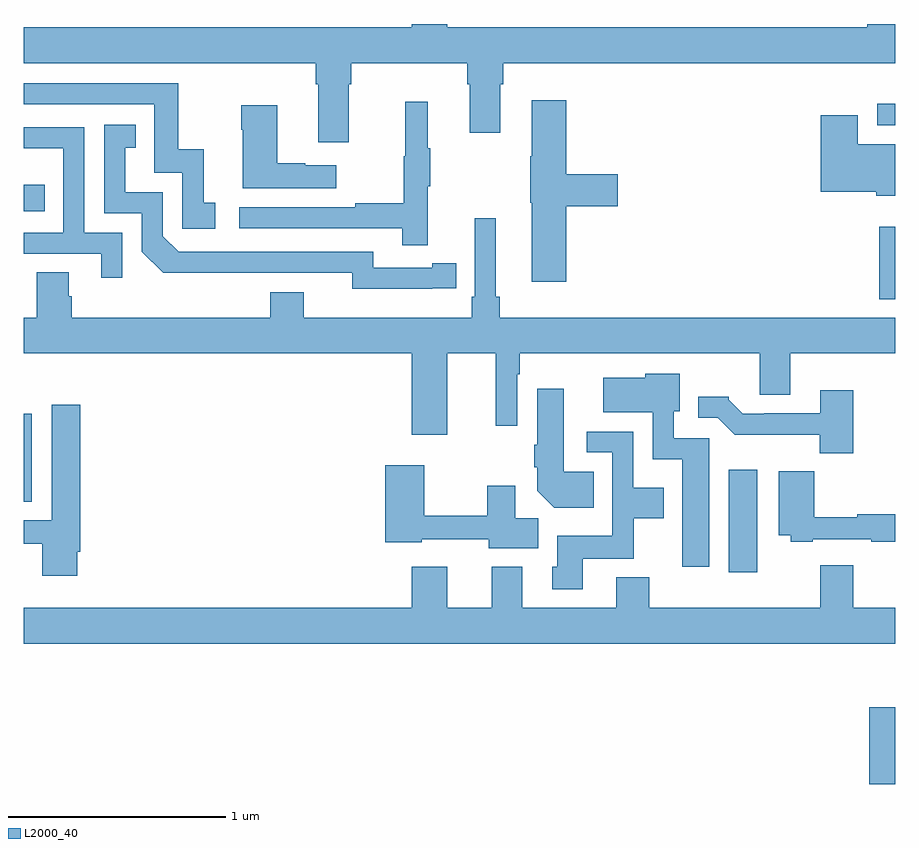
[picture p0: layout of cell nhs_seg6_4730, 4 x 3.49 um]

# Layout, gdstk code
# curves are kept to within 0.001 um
import gdstk
lib = gdstk.Library(unit=1e-6, precision=1e-09)
def R(c, l, rs):  # rectangles x0, y0, x1, y1
    for r in rs: c.add(gdstk.rectangle(r[:2], r[2:], *l))
def P(c, l, *ps):  # polygons
    for p in ps: c.add(gdstk.Polygon(p, *l))
L2000_40 = (2000, 40)

nhs_seg6_4730 = lib.new_cell('nhs_seg6_4730')
R(nhs_seg6_4730, L2000_40, [(394.88,960.011,395,960.364), (394.235,960.984,394.366,961.453), (391,961.306,391.036,961.711), (394.927,962.237,395,962.569), (391,962.64,391.097,962.763), (394.917,963.036,395,963.134)])
P(nhs_seg6_4730, L2000_40, [(392.491,963.224),(392.504,963.224),(392.504,963.32),(393.035,963.32),(393.035,963.224),(393.047,963.224),(393.047,963),(393.187,963),(393.187,963.224),(393.2,963.224),(393.2,963.32),(395,963.32),(395,963.5),(394.871,963.5),(394.871,963.484),(392.944,963.484),(392.944,963.5),(392.78,963.5),(392.78,963.484),(391,963.484),(391,963.32),(392.339,963.32),(392.339,963.224),(392.351,963.224),(392.351,962.958),(392.491,962.958)],
  [(391.879,962.679),(391.826,962.679),(391.826,962.926),(391.708,962.926),(391.708,963.228),(391,963.228),(391,963.132),(391.599,963.132),(391.599,962.817),(391.728,962.817),(391.728,962.559),(391.879,962.559)],
  [(393.491,962.663),(393.727,962.663),(393.727,962.81),(393.491,962.81),(393.491,963.151),(393.332,963.151),(393.332,962.893),(393.325,962.893),(393.325,962.679),(393.332,962.679),(393.332,962.316),(393.491,962.316)],
  [(392.855,962.755),(392.866,962.755),(392.866,962.929),(392.855,962.929),(392.855,963.142),(392.752,963.142),(392.752,962.892),(392.745,962.892),(392.745,962.678),(392.521,962.678),(392.521,962.658),(391.989,962.658),(391.989,962.562),(392.737,962.562),(392.737,962.484),(392.855,962.484)],
  [(392.434,962.851),(392.291,962.851),(392.291,962.861),(392.164,962.861),(392.164,963.127),(391.999,963.127),(391.999,963.014),(392.006,963.014),(392.006,962.747),(392.434,962.747)],
  [(395,962.947),(394.828,962.947),(394.828,963.082),(394.658,963.082),(394.658,962.729),(394.914,962.729),(394.914,962.711),(395,962.711)],
  [(392.876,962.286),(392.984,962.286),(392.984,962.402),(392.876,962.402),(392.876,962.382),(392.604,962.382),(392.604,962.454),(391.71,962.454),(391.638,962.526),(391.638,962.727),(391.465,962.727),(391.465,962.931),(391.514,962.931),(391.514,963.037),(391.368,963.037),(391.368,962.631),(391.542,962.631),(391.542,962.454),(391.64,962.357),(392.508,962.358),(392.508,962.285)],
  [(391.452,962.541),(391.278,962.541),(391.278,963.027),(391,963.027),(391,962.93),(391.182,962.93),(391.182,962.541),(391,962.541),(391,962.445),(391.355,962.445),(391.355,962.334),(391.452,962.334)],
  [(392.944,961.988),(393.166,961.988),(393.166,961.656),(393.264,961.656),(393.264,961.892),(393.277,961.892),(393.277,961.988),(394.379,961.988),(394.379,961.798),(394.519,961.798),(394.519,961.988),(395,961.988),(395,962.152),(393.185,962.152),(393.185,962.248),(393.166,962.248),(393.166,962.608),(393.069,962.608),(393.069,962.248),(393.056,962.248),(393.056,962.152),(392.284,962.152),(392.284,962.269),(392.132,962.269),(392.132,962.152),(391.22,962.152),(391.22,962.25),(391.207,962.25),(391.207,962.36),(391.06,962.36),(391.06,962.152),(391,962.152),(391,961.988),(392.78,961.988),(392.78,961.614),(392.944,961.614)],
  [(394.147,961.599),(393.984,961.599),(393.984,961.722),(394.012,961.722),(394.012,961.894),(393.852,961.894),(393.852,961.876),(393.66,961.876),(393.66,961.718),(393.888,961.718),(393.888,961.502),(394.022,961.502),(394.022,961.008),(394.147,961.008)],
  [(393.617,961.444),(393.478,961.444),(393.478,961.825),(393.356,961.825),(393.356,961.568),(393.344,961.568),(393.344,961.465),(393.356,961.465),(393.356,961.358),(393.434,961.28),(393.617,961.28)],
  [(394.808,961.819),(394.655,961.819),(394.655,961.713),(394.399,961.713),(394.399,961.71),(394.3,961.71),(394.236,961.774),(394.236,961.789),(394.097,961.789),(394.097,961.692),(394.185,961.692),(394.264,961.614),(394.653,961.614),(394.653,961.529),(394.808,961.529)],
  [(391.246,961.078),(391.259,961.078),(391.259,961.753),(391.127,961.753),(391.127,961.221),(391,961.221),(391,961.113),(391.085,961.113),(391.085,960.966),(391.246,960.966)],
  [(393.565,961.046),(393.801,961.046),(393.801,961.232),(393.937,961.232),(393.937,961.372),(393.798,961.372),(393.798,961.629),(393.585,961.629),(393.585,961.533),(393.702,961.533),(393.702,961.15),(393.449,961.15),(393.449,961.008),(393.425,961.008),(393.425,960.906),(393.565,960.906)],
  [(393.361,961.232),(393.256,961.232),(393.256,961.381),(393.127,961.381),(393.127,961.243),(392.838,961.243),(392.838,961.474),(392.66,961.474),(392.66,961.121),(392.826,961.121),(392.826,961.134),(393.134,961.134),(393.134,961.094),(393.361,961.094)],
  [(394.621,961.134),(394.891,961.134),(394.891,961.122),(395,961.122),(395,961.25),(394.826,961.25),(394.826,961.235),(394.628,961.235),(394.628,961.447),(394.466,961.447),(394.466,961.154),(394.521,961.154),(394.521,961.122),(394.621,961.122)],
  [(395,960.82),(394.808,960.82),(394.808,961.015),(394.655,961.015),(394.655,960.82),(393.872,960.82),(393.872,960.961),(393.719,960.961),(393.719,960.82),(393.289,960.82),(393.289,961.009),(393.149,961.009),(393.149,960.82),(392.944,960.82),(392.944,961.009),(392.78,961.009),(392.78,960.82),(391,960.82),(391,960.656),(395,960.656)])

lib.write_gds('nhs_seg6_4730.gds')
